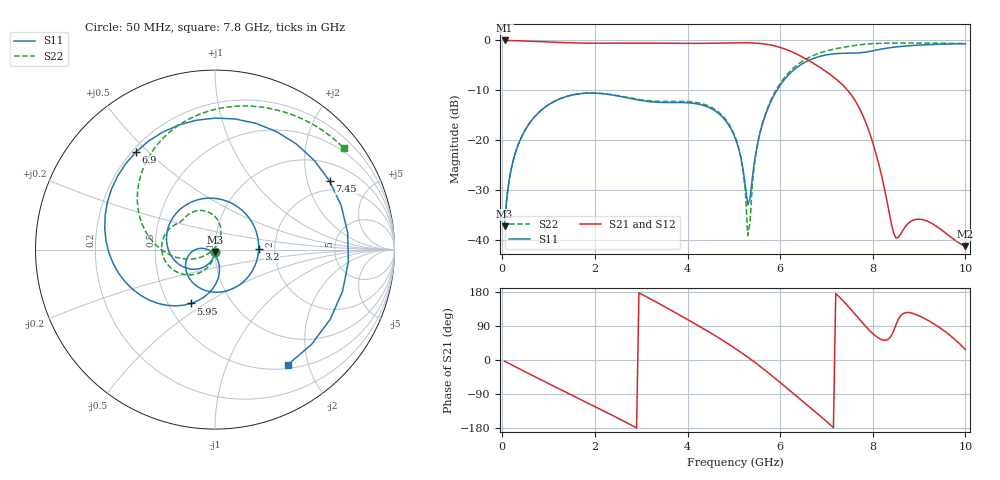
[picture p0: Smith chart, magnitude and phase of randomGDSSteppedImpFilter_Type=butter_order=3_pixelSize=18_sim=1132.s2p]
! freq	dB(S11)	phase(S11)	dB(S12)	phase(S12)
!  dB(S21)	phase(S21)	dB(S22)	phase(S22)
!S-par simulation data
#  GHz  S  DB  R 50
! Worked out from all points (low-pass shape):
!   200 points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, 50 MHz to 10 GHz, reference 50 ohm
!   highest |S21| = -0.01 dB at 50 MHz (marker M1); lowest = -41.2 dB at 10 GHz (marker M2)
!   |S21| within 3 dB of the highest: start of sweep to 6.416 GHz
!   lowest |S11| = -37.2 dB at 50 MHz (marker M3), VSWR 1.03, Z = 49.9 - j1.37 ohm
!   |S11| at or under -10 dB: start of sweep to 5.928 GHz
!   |S22| runs from -39.1 to -0.5 dB; largest |S21 - S12| = 0
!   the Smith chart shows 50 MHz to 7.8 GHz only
!   S11 on the Smith chart (normalised r, x): 50 MHz: 1.00, -0.03; 3.2 GHz: 1.64, +0.01; 5.95 GHz: 0.65, -0.44; 6.9 GHz: 0.22, +0.46; 7.45 GHz: 1.62, +2.77; 7.8 GHz: 0.56, -1.68
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0.05  -37.24 -93.0  -0.01 -3.2  -0.01 -3.2  -37.23 -92.1
0.2  -25.43 -104.6  -0.03 -12.7  -0.03 -12.7  -25.42 -101.1
0.5  -17.85 -126.5  -0.12 -31.5  -0.12 -31.5  -17.84 -117.5
1.75  -10.60 141.5  -0.53 -107.5  -0.53 -107.5  -10.59 -177.7
3.2  -12.27 0.8  -0.53 161.1  -0.53 161.1  -12.10 141.4
3.4  -12.40 -22.4  -0.54 147.7  -0.54 147.7  -12.20 138.0
4.25  -12.79 -113.1  -0.59 89.4  -0.59 89.4  -12.54 113.0
5.05  -20.08 177.8  -0.47 28.8  -0.47 28.8  -19.87 70.8
5.2  -25.89 175.6  -0.46 16.2  -0.46 16.2  -26.09 64.5
5.3  -32.93 -147.0  -0.47 7.5  -0.47 7.5  -39.06 88.3
5.55  -19.08 -76.8  -0.59 -15.2  -0.59 -15.2  -19.05 -154.2
5.95  -9.67 -114.0  -1.27 -54.3  -1.27 -54.3  -9.34 174.0
6.7  -3.67 156.2  -4.48 -130.6  -4.48 -130.6  -3.08 111.1
6.9  -3.10 128.9  -5.66 -151.4  -5.66 -151.4  -2.38 96.1
7.2  -2.66 81.2  -7.68 175.5  -7.68 175.5  -1.66 75.4
7.45  -2.57 30.8  -9.90 144.2  -9.90 144.2  -1.23 59.4
7.8  -2.40 -57.6  -15.34 95.2  -15.34 95.2  -0.78 38.2
8  -2.08 -107.8  -20.47 69.7  -20.47 69.7  -0.64 26.6
8.35  -1.49 -176.2  -34.24 56.1  -34.24 56.1  -0.54 7.8
8.5  -1.31 161.5  -39.54 92.6  -39.54 92.6  -0.53 0.3
9.05  -0.91 100.9  -35.83 113.7  -35.83 113.7  -0.53 -24.9
10  -0.66 32.3  -41.19 28.1  -41.19 28.1  -0.64 -62.7
